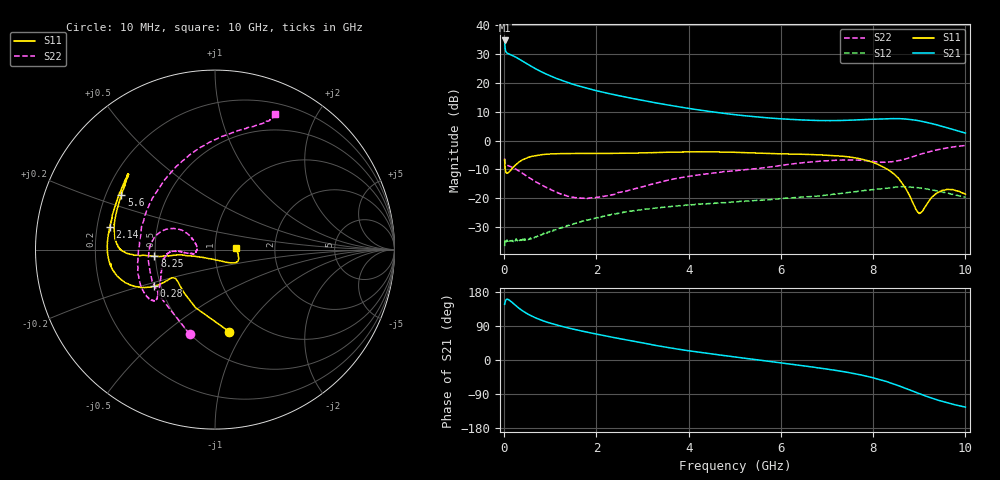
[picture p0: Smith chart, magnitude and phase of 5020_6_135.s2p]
# Hz S  dB  R 50
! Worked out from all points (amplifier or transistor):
!   1000 points, 10 MHz to 10 GHz, reference 50 ohm
!   highest |S21| = 34.7 dB at 10 MHz (marker M1)
!   |S21| within 3 dB of that: start of sweep to 24.83 MHz
!   unconditionally stable (mu >= 1): 47.58 MHz to end of sweep
!   at 1.67 GHz: K = 1.14, MAG = 21.1 dB, |S12| = -28.1 dB
!   at 5.01 GHz: K = 1.11, MAG = 13.1 dB, |S12| = -21.3 dB
!   at 10 GHz: K = 1.14, MAG = 8.8 dB, |S12| = -19.6 dB
!   S11 on the Smith chart (normalised r, x): 10 MHz: 0.74, -0.87; 280 MHz: 0.46, -0.22; 2.14 GHz: 0.25, +0.10; 5.6 GHz: 0.26, +0.25; 8.25 GHz: 0.49, -0.04; 10 GHz: 1.27, +0.02
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1e7  -6.67 -80.1  34.71 146.9  -36.57 31.6  -6.17 -106.6
7e7  -11.29 -143.9  30.28 160.5  -34.74 5.8  -8.57 -174.0
8e7  -11.17 -145.0  30.18 160.1  -34.84 5.5  -8.64 -176.5
1.1e8  -10.84 -146.7  29.98 158.1  -34.77 8.0  -8.79 177.6
2.1e8  -9.05 -147.6  29.27 147.9  -34.42 8.9  -9.50 165.7
2.8e8  -7.98 -149.1  28.67 140.6  -34.50 13.1  -10.16 160.6
3.9e8  -6.73 -152.7  27.64 130.5  -34.41 17.1  -11.24 154.7
5.2e8  -5.84 -157.3  26.38 120.9  -34.30 25.8  -12.64 151.0
6.5e8  -5.26 -161.6  25.18 112.9  -33.70 28.8  -13.96 149.7
7.9e8  -4.92 -165.6  24.00 105.9  -32.65 34.4  -15.18 150.0
9.6e8  -4.67 -169.6  22.72 98.8  -31.59 37.6  -16.60 153.0
1.15e9  -4.53 -173.7  21.44 92.0  -30.60 40.8  -18.00 157.9
1.68e9  -4.42 176.4  18.65 76.6  -27.95 42.7  -19.95 175.2
2.14e9  -4.45 167.9  16.77 65.0  -26.27 40.4  -19.32 -172.8
3.34e9  -4.11 146.3  12.94 37.3  -23.20 27.3  -14.54 -176.4
5.01e9  -4.05 142.0  8.98 7.9  -21.26 10.1  -10.42 -165.9
5.6e9  -4.36 149.6  8.04 -1.3  -20.64 4.4  -9.44 -153.5
6.67e9  -4.83 168.5  7.04 -18.2  -19.35 -7.4  -7.36 -139.6
8.25e9  -9.38 -173.6  7.53 -55.5  -16.59 -37.9  -7.48 171.3
8.34e9  -10.23 -172.9  7.59 -58.8  -16.42 -40.7  -7.36 163.1
9e9  -25.25 -105.7  6.86 -88.9  -16.38 -68.6  -4.81 98.3
1e10  -18.57 3.3  2.63 -124.3  -19.64 -101.5  -1.67 66.2
